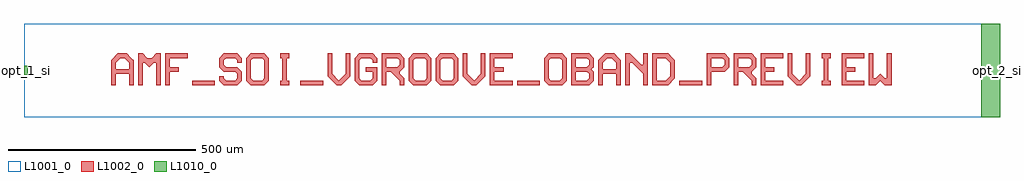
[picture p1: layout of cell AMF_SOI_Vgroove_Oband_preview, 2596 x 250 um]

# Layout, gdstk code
import gdstk
lib = gdstk.Library(unit=1e-6, precision=1e-09)
def R(c, l, rs):  # rectangles x0, y0, x1, y1
    for r in rs: c.add(gdstk.rectangle(r[:2], r[2:], *l))
def P(c, l, *ps):  # polygons
    for p in ps: c.add(gdstk.Polygon(p, *l))
L1001_0 = (1001, 0)
L1002_0 = (1002, 0)
L1010_0 = (1010, 0)

amf_soi_vgroove_oband_pr = lib.new_cell('AMF_SOI_Vgroove_Oband_preview')
R(amf_soi_vgroove_oband_pr, L1001_0, [(0,-125,2596,125)])
R(amf_soi_vgroove_oband_pr, L1002_0, [(447.433,-38.762,507.433,-26.762), (735.433,-38.762,795.433,-26.762), (1311.433,-38.762,1371.433,-26.762), (1743.433,-38.762,1803.433,-26.762)])
P(amf_soi_vgroove_oband_pr, L1002_0, [(231.433,-38.762),(231.433,27.238),(249.433,45.238),(273.433,45.238),(285.433,33.238),(255.433,33.238),(243.433,21.238),(243.433,3.238),(279.433,3.238),(279.433,21.238),(267.433,33.238),(285.433,33.238),(291.433,27.238),(291.433,-38.762),(279.433,-38.762),(279.433,-8.762),(243.433,-8.762),(243.433,-38.762)],
  [(303.433,-38.762),(303.433,45.238),(315.433,45.238),(327.433,33.238),(339.433,33.238),(351.433,45.238),(363.433,45.238),(363.433,-38.762),(351.433,-38.762),(351.433,21.238),(345.433,21.238),(333.433,9.238),(321.433,21.238),(315.433,21.238),(315.433,-38.762)],
  [(375.433,-38.762),(375.433,45.238),(435.433,45.238),(435.433,33.238),(387.433,33.238),(387.433,9.238),(411.433,9.238),(411.433,-2.762),(387.433,-2.762),(387.433,-38.762)],
  [(531.433,-38.762),(519.433,-26.762),(519.433,-14.762),(531.433,-14.762),(531.433,-20.762),(537.433,-26.762),(561.433,-26.762),(567.433,-20.762),(567.433,-8.762),(561.433,-2.762),(531.433,-2.762),(519.433,9.238),(519.433,33.238),(531.433,45.238),(567.433,45.238),(579.433,33.238),(579.433,21.238),(567.433,21.238),(567.433,27.238),(561.433,33.238),(537.433,33.238),(531.433,27.238),(531.433,15.238),(537.433,9.238),(567.433,9.238),(579.433,-2.762),(579.433,-26.762),(567.433,-38.762)],
  [(603.433,-38.762),(591.433,-26.762),(591.433,33.238),(603.433,45.238),(639.433,45.238),(651.433,33.238),(651.433,3.238),(639.433,3.238),(639.433,27.238),(633.433,33.238),(609.433,33.238),(603.433,27.238),(603.433,-20.762),(609.433,-26.762),(633.433,-26.762),(639.433,-20.762),(639.433,3.238),(651.433,3.238),(651.433,-26.762),(639.433,-38.762)],
  [(681.433,-38.762),(681.433,-26.762),(687.433,-26.762),(687.433,33.238),(681.433,33.238),(681.433,45.238),(705.433,45.238),(705.433,33.238),(699.433,33.238),(699.433,-26.762),(705.433,-26.762),(705.433,-38.762)],
  [(831.433,-38.762),(807.433,-14.762),(807.433,45.238),(819.433,45.238),(819.433,-8.762),(837.433,-26.762),(855.433,-8.762),(855.433,45.238),(867.433,45.238),(867.433,-14.762),(843.433,-38.762)],
  [(891.433,-38.762),(879.433,-26.762),(879.433,33.238),(891.433,45.238),(927.433,45.238),(939.433,33.238),(939.433,21.238),(927.433,21.238),(927.433,27.238),(921.433,33.238),(897.433,33.238),(891.433,27.238),(891.433,-20.762),(897.433,-26.762),(921.433,-26.762),(927.433,-20.762),(927.433,-2.762),(909.433,-2.762),(909.433,9.238),(939.433,9.238),(939.433,-26.762),(927.433,-38.762)],
  [(951.433,-38.762),(951.433,45.238),(999.433,45.238),(1011.433,33.238),(963.433,33.238),(963.433,9.238),(993.433,9.238),(999.433,15.238),(999.433,27.238),(993.433,33.238),(1011.433,33.238),(1011.433,9.238),(999.433,-2.762),(999.433,-8.762),(1011.433,-20.762),(1011.433,-38.762),(999.433,-38.762),(999.433,-26.762),(975.433,-2.762),(963.433,-2.762),(963.433,-38.762)],
  [(1035.433,-38.762),(1023.433,-26.762),(1023.433,33.238),(1035.433,45.238),(1071.433,45.238),(1083.433,33.238),(1083.433,3.238),(1071.433,3.238),(1071.433,27.238),(1065.433,33.238),(1041.433,33.238),(1035.433,27.238),(1035.433,-20.762),(1041.433,-26.762),(1065.433,-26.762),(1071.433,-20.762),(1071.433,3.238),(1083.433,3.238),(1083.433,-26.762),(1071.433,-38.762)],
  [(1107.433,-38.762),(1095.433,-26.762),(1095.433,33.238),(1107.433,45.238),(1143.433,45.238),(1155.433,33.238),(1155.433,3.238),(1143.433,3.238),(1143.433,27.238),(1137.433,33.238),(1113.433,33.238),(1107.433,27.238),(1107.433,-20.762),(1113.433,-26.762),(1137.433,-26.762),(1143.433,-20.762),(1143.433,3.238),(1155.433,3.238),(1155.433,-26.762),(1143.433,-38.762)],
  [(1191.433,-38.762),(1167.433,-14.762),(1167.433,45.238),(1179.433,45.238),(1179.433,-8.762),(1197.433,-26.762),(1215.433,-8.762),(1215.433,45.238),(1227.433,45.238),(1227.433,-14.762),(1203.433,-38.762)],
  [(1239.433,-38.762),(1239.433,45.238),(1299.433,45.238),(1299.433,33.238),(1251.433,33.238),(1251.433,9.238),(1275.433,9.238),(1275.433,-2.762),(1251.433,-2.762),(1251.433,-26.762),(1299.433,-26.762),(1299.433,-38.762)],
  [(1395.433,-38.762),(1383.433,-26.762),(1383.433,33.238),(1395.433,45.238),(1431.433,45.238),(1443.433,33.238),(1443.433,3.238),(1431.433,3.238),(1431.433,27.238),(1425.433,33.238),(1401.433,33.238),(1395.433,27.238),(1395.433,-20.762),(1401.433,-26.762),(1425.433,-26.762),(1431.433,-20.762),(1431.433,3.238),(1443.433,3.238),(1443.433,-26.762),(1431.433,-38.762)],
  [(1455.433,-38.762),(1455.433,45.238),(1503.433,45.238),(1515.433,33.238),(1467.433,33.238),(1467.433,9.238),(1497.433,9.238),(1503.433,15.238),(1503.433,27.238),(1497.433,33.238),(1515.433,33.238),(1515.433,9.238),(1509.433,3.238),(1515.433,-2.762),(1467.433,-2.762),(1467.433,-26.762),(1497.433,-26.762),(1503.433,-20.762),(1503.433,-8.762),(1497.433,-2.762),(1515.433,-2.762),(1515.433,-26.762),(1503.433,-38.762)],
  [(1527.433,-38.762),(1527.433,27.238),(1545.433,45.238),(1569.433,45.238),(1581.433,33.238),(1551.433,33.238),(1539.433,21.238),(1539.433,3.238),(1575.433,3.238),(1575.433,21.238),(1563.433,33.238),(1581.433,33.238),(1587.433,27.238),(1587.433,-38.762),(1575.433,-38.762),(1575.433,-8.762),(1539.433,-8.762),(1539.433,-38.762)],
  [(1599.433,-38.762),(1599.433,45.238),(1611.433,45.238),(1641.433,15.238),(1647.433,15.238),(1647.433,45.238),(1659.433,45.238),(1659.433,-38.762),(1647.433,-38.762),(1647.433,-8.762),(1617.433,21.238),(1611.433,21.238),(1611.433,-38.762)],
  [(1671.433,-38.762),(1671.433,45.238),(1713.433,45.238),(1725.433,33.238),(1683.433,33.238),(1683.433,-26.762),(1707.433,-26.762),(1719.433,-14.762),(1719.433,21.238),(1707.433,33.238),(1725.433,33.238),(1731.433,27.238),(1731.433,-20.762),(1713.433,-38.762)],
  [(1815.433,-38.762),(1815.433,45.238),(1863.433,45.238),(1875.433,33.238),(1875.433,9.238),(1863.433,-2.762),(1827.433,-2.762),(1827.433,9.238),(1857.433,9.238),(1863.433,15.238),(1863.433,27.238),(1857.433,33.238),(1827.433,33.238),(1827.433,-38.762)],
  [(1887.433,-38.762),(1887.433,45.238),(1935.433,45.238),(1947.433,33.238),(1899.433,33.238),(1899.433,9.238),(1929.433,9.238),(1935.433,15.238),(1935.433,27.238),(1929.433,33.238),(1947.433,33.238),(1947.433,9.238),(1935.433,-2.762),(1935.433,-8.762),(1947.433,-20.762),(1947.433,-38.762),(1935.433,-38.762),(1935.433,-26.762),(1911.433,-2.762),(1899.433,-2.762),(1899.433,-38.762)],
  [(1959.433,-38.762),(1959.433,45.238),(2019.433,45.238),(2019.433,33.238),(1971.433,33.238),(1971.433,9.238),(1995.433,9.238),(1995.433,-2.762),(1971.433,-2.762),(1971.433,-26.762),(2019.433,-26.762),(2019.433,-38.762)],
  [(2055.433,-38.762),(2031.433,-14.762),(2031.433,45.238),(2043.433,45.238),(2043.433,-8.762),(2061.433,-26.762),(2079.433,-8.762),(2079.433,45.238),(2091.433,45.238),(2091.433,-14.762),(2067.433,-38.762)],
  [(2121.433,-38.762),(2121.433,-26.762),(2127.433,-26.762),(2127.433,33.238),(2121.433,33.238),(2121.433,45.238),(2145.433,45.238),(2145.433,33.238),(2139.433,33.238),(2139.433,-26.762),(2145.433,-26.762),(2145.433,-38.762)],
  [(2175.433,-38.762),(2175.433,45.238),(2235.433,45.238),(2235.433,33.238),(2187.433,33.238),(2187.433,9.238),(2211.433,9.238),(2211.433,-2.762),(2187.433,-2.762),(2187.433,-26.762),(2235.433,-26.762),(2235.433,-38.762)],
  [(2247.433,-38.762),(2247.433,45.238),(2259.433,45.238),(2259.433,-20.762),(2265.433,-20.762),(2277.433,-8.762),(2289.433,-20.762),(2295.433,-20.762),(2295.433,45.238),(2307.433,45.238),(2307.433,-38.762),(2289.433,-38.762),(2277.433,-26.762),(2265.433,-38.762)])
R(amf_soi_vgroove_oband_pr, L1010_0, [(2546,-125,2596,125), (0,-12,10,12)])
amf_soi_vgroove_oband_pr.add(gdstk.Label('opt_2_si', (2596,0), layer=1010, texttype=0))
amf_soi_vgroove_oband_pr.add(gdstk.Label('opt_1_si', (0,0), layer=1010, texttype=0))

lib.write_gds('AMF_SOI_Vgroove_Oband_preview.gds')
